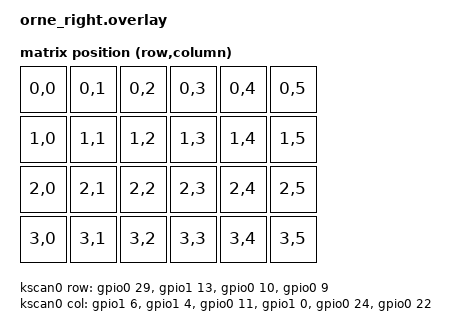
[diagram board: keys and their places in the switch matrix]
#include <dt-bindings/zmk/matrix_transform.h>

/ {
    chosen {
        zmk,kscan = &kscan0;
        zmk,matrix-transform = &default_transform;   // ADD THIS
    };

    kscan0: kscan {
        compatible = "zmk,kscan-gpio-matrix";
        label = "KSCAN_RIGHT";

        // Your existing row-gpios (unchanged)
        row-gpios = <&gpio0 29 (GPIO_ACTIVE_HIGH | GPIO_PULL_DOWN)>,
                    <&gpio1 13 (GPIO_ACTIVE_HIGH | GPIO_PULL_DOWN)>,
                    <&gpio0 10 (GPIO_ACTIVE_HIGH | GPIO_PULL_DOWN)>,
                    <&gpio0 9  (GPIO_ACTIVE_HIGH | GPIO_PULL_DOWN)>;

        // Your existing col-gpios (unchanged)
        col-gpios = <&gpio1 6  GPIO_ACTIVE_HIGH>,
                    <&gpio1 4  GPIO_ACTIVE_HIGH>,
                    <&gpio0 11 GPIO_ACTIVE_HIGH>,
                    <&gpio1 0  GPIO_ACTIVE_HIGH>,
                    <&gpio0 24 GPIO_ACTIVE_HIGH>,
                    <&gpio0 22 GPIO_ACTIVE_HIGH>;

        diode-direction = "col2row";
        debounce-press-ms = <5>;
        debounce-release-ms = <5>;
        wakeup-source;
    };

    default_transform: matrix_transform {
        compatible = "zmk,matrix-transform";
        columns = <6>;
        rows = <4>;
        // USE RC() MACROS, not flat numbers
        map = <
            RC(0,0) RC(0,1) RC(0,2) RC(0,3) RC(0,4) RC(0,5)
            RC(1,0) RC(1,1) RC(1,2) RC(1,3) RC(1,4) RC(1,5)
            RC(2,0) RC(2,1) RC(2,2) RC(2,3) RC(2,4) RC(2,5)
            RC(3,0) RC(3,1) RC(3,2) RC(3,3) RC(3,4) RC(3,5)
        >;
    };
};

// COMMENT OUT OLED for now – we want minimal test
// &i2c0 {
//     status = "okay";
//     sda-pin = <17>;
//     scl-pin = <20>;
//     clock-frequency = <I2C_BITRATE_STANDARD>;
//     oled0: oled@3c {
//         compatible = "solomon,ssd1306fb";
//         reg = <0x3C>;
//         width = <128>;
//         height = <32>;
//         label = "OLED";
//     };
// };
